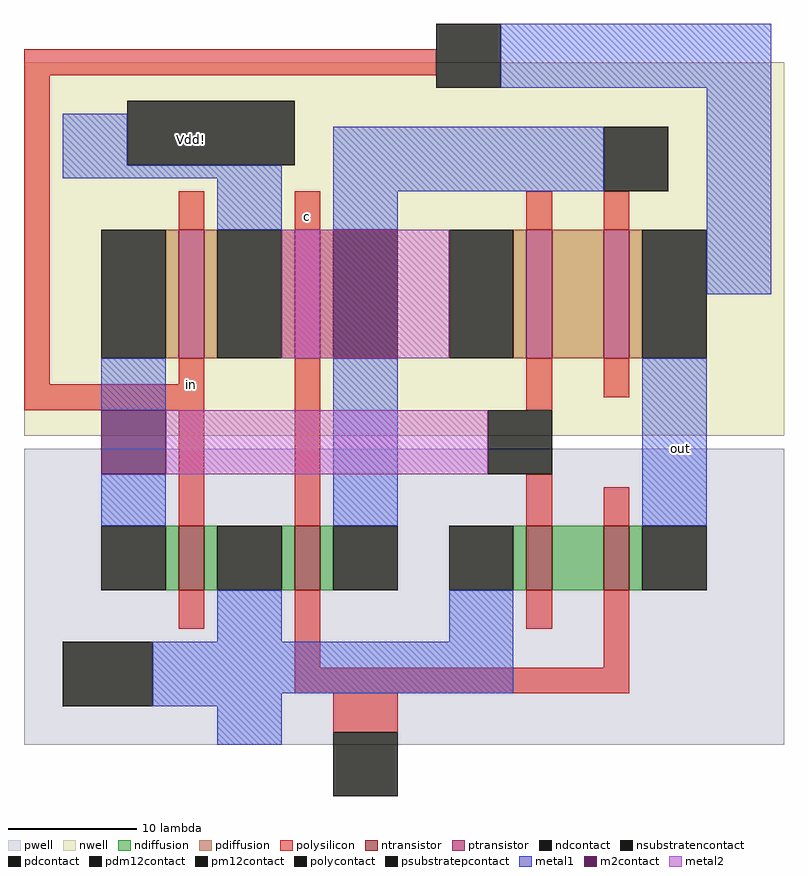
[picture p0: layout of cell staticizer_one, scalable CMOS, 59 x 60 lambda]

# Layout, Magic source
magic
tech scmos
<< nwell >>
rect 54 -33 113 -4
<< pwell >>
rect 54 -57 113 -34
<< ntransistor >>
rect 66 -45 68 -40
rect 75 -45 77 -40
rect 93 -45 95 -40
rect 99 -45 101 -40
<< ptransistor >>
rect 66 -27 68 -17
rect 75 -27 77 -17
rect 93 -27 95 -17
rect 99 -27 101 -17
<< ndiffusion >>
rect 65 -45 66 -40
rect 68 -45 69 -40
rect 74 -45 75 -40
rect 77 -45 78 -40
rect 92 -45 93 -40
rect 95 -45 99 -40
rect 101 -45 102 -40
<< pdiffusion >>
rect 65 -27 66 -17
rect 68 -27 69 -17
rect 74 -27 75 -17
rect 77 -27 78 -17
rect 92 -27 93 -17
rect 95 -27 99 -17
rect 101 -27 102 -17
<< ndcontact >>
rect 60 -45 65 -40
rect 69 -45 74 -40
rect 78 -45 83 -40
rect 87 -45 92 -40
rect 102 -45 107 -40
<< pdcontact >>
rect 60 -27 65 -17
rect 78 -27 83 -17
rect 102 -27 107 -17
<< psubstratepcontact >>
rect 57 -54 64 -49
<< nsubstratencontact >>
rect 62 -12 75 -7
<< polysilicon >>
rect 54 -5 86 -3
rect 54 -29 56 -5
rect 66 -17 68 -14
rect 75 -17 77 -14
rect 93 -17 95 -14
rect 99 -17 101 -14
rect 66 -29 68 -27
rect 54 -31 68 -29
rect 66 -40 68 -31
rect 75 -40 77 -27
rect 93 -31 95 -27
rect 99 -30 101 -27
rect 93 -40 95 -36
rect 99 -40 101 -37
rect 66 -48 68 -45
rect 75 -51 77 -45
rect 93 -48 95 -45
rect 99 -51 101 -45
rect 75 -53 101 -51
rect 78 -56 83 -53
<< polycontact >>
rect 86 -6 91 -1
rect 99 -14 104 -9
rect 78 -61 83 -56
<< metal1 >>
rect 91 -6 112 -1
rect 57 -12 62 -8
rect 57 -13 74 -12
rect 69 -17 74 -13
rect 78 -14 99 -9
rect 78 -17 83 -14
rect 107 -22 112 -6
rect 60 -31 65 -27
rect 60 -40 65 -36
rect 78 -40 83 -27
rect 102 -40 107 -27
rect 69 -49 74 -45
rect 87 -49 92 -45
rect 64 -53 92 -49
rect 64 -54 74 -53
rect 69 -57 74 -54
<< m2contact >>
rect 60 -36 65 -31
<< pm12contact >>
rect 90 -36 95 -31
<< pdm12contact >>
rect 69 -27 74 -17
rect 87 -27 92 -17
<< metal2 >>
rect 74 -27 87 -17
rect 65 -36 90 -31
<< labels >>
rlabel polysilicon 67 -29 67 -29 1 in
rlabel metal1 105 -34 105 -34 1 out
rlabel polysilicon 76 -16 76 -16 1 c
rlabel nsubstratencontact 67 -10 67 -10 1 Vdd!
<< end >>
